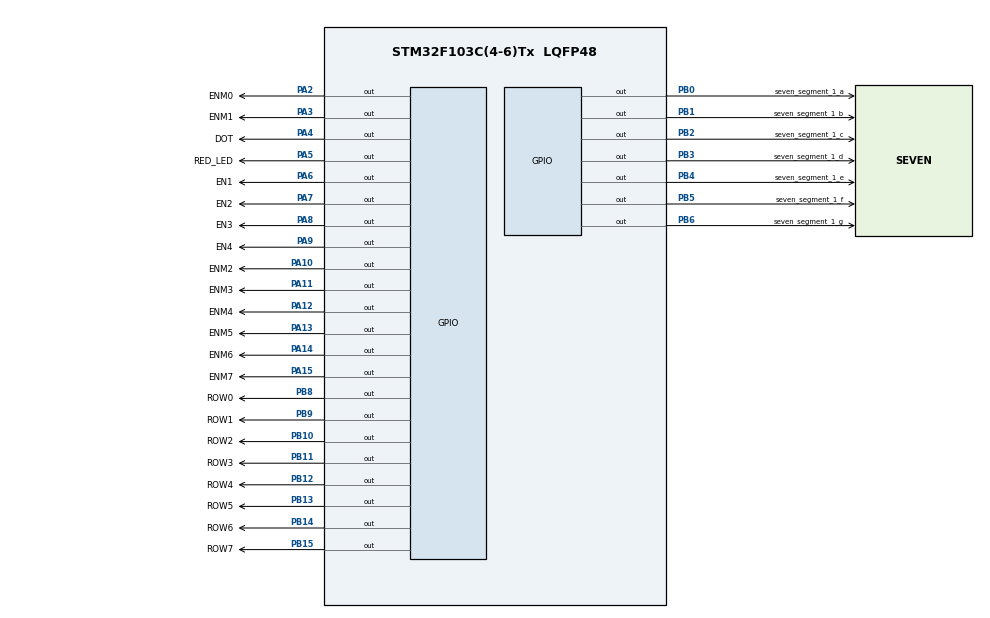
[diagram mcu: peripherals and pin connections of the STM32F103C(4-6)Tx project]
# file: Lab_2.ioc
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Mcu.Family=STM32F1
Mcu.Name=STM32F103C(4-6)Tx
Mcu.Package=LQFP48
NVIC.PriorityGroup=NVIC_PRIORITYGROUP_4
NVIC.TIM2_IRQn=true\:0\:0\:false\:false\:true\:true\:true
PA10.GPIO_Label=ENM2
PA10.Signal=GPIO_Output
PA11.GPIO_Label=ENM3
PA11.Signal=GPIO_Output
PA12.GPIO_Label=ENM4
PA12.Signal=GPIO_Output
PA13.GPIO_Label=ENM5
PA13.Signal=GPIO_Output
PA14.GPIO_Label=ENM6
PA14.Signal=GPIO_Output
PA15.GPIO_Label=ENM7
PA15.Signal=GPIO_Output
PA2.GPIO_Label=ENM0
PA2.Signal=GPIO_Output
PA3.GPIO_Label=ENM1
PA3.Signal=GPIO_Output
PA4.GPIO_Label=DOT
PA4.Signal=GPIO_Output
PA5.GPIO_Label=RED_LED
PA5.Signal=GPIO_Output
PA6.GPIO_Label=EN1
PA6.Signal=GPIO_Output
PA7.GPIO_Label=EN2
PA7.Signal=GPIO_Output
PA8.GPIO_Label=EN3
PA8.Signal=GPIO_Output
PA9.GPIO_Label=EN4
PA9.Signal=GPIO_Output
PB0.GPIO_Label=seven_segment_1_a
PB0.Signal=GPIO_Output
PB1.GPIO_Label=seven_segment_1_b
PB1.Signal=GPIO_Output
PB10.GPIO_Label=ROW2
PB10.Signal=GPIO_Output
PB11.GPIO_Label=ROW3
PB11.Signal=GPIO_Output
PB12.GPIO_Label=ROW4
PB12.Signal=GPIO_Output
PB13.GPIO_Label=ROW5
PB13.Signal=GPIO_Output
PB14.GPIO_Label=ROW6
PB14.Signal=GPIO_Output
PB15.GPIO_Label=ROW7
PB15.Signal=GPIO_Output
PB2.GPIO_Label=seven_segment_1_c
PB2.Signal=GPIO_Output
PB3.GPIO_Label=seven_segment_1_d
PB3.Signal=GPIO_Output
PB4.GPIO_Label=seven_segment_1_e
PB4.Signal=GPIO_Output
PB5.GPIO_Label=seven_segment_1_f
PB5.Signal=GPIO_Output
PB6.GPIO_Label=seven_segment_1_g
PB6.Signal=GPIO_Output
PB8.GPIO_Label=ROW0
PB8.Signal=GPIO_Output
PB9.GPIO_Label=ROW1
PB9.Signal=GPIO_Output
PD0-OSC_IN.Mode=HSE-External-Oscillator
PD0-OSC_IN.Signal=RCC_OSC_IN
PD1-OSC_OUT.Mode=HSE-External-Oscillator
PD1-OSC_OUT.Signal=RCC_OSC_OUT
ProjectManager.HeapSize=0x200
ProjectManager.StackSize=0x400
ProjectManager.TargetToolchain=STM32CubeIDE
RCC.APB1Freq_Value=8000000
RCC.APB2Freq_Value=8000000
RCC.SYSCLKSource=RCC_SYSCLKSOURCE_HSE
TIM2.Period=9
TIM2.Prescaler=7999
VP_SYS_VS_ND.Mode=No_Debug
VP_TIM2_VS_ClockSourceINT.Mode=Internal
board=custom

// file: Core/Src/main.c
/* USER CODE BEGIN Header */
/**
  ******************************************************************************
  * @file           : main.c
  * @brief          : Main program body
  ******************************************************************************
  * @attention
  *
  * <h2><center>&copy; Copyright (c) 2021 STMicroelectronics.
  * All rights reserved.</center></h2>
  *
  * This software component is licensed by ST under BSD 3-Clause license,
  * the "License"; You may not use this file except in compliance with the
  * License. You may obtain a copy of the License at:
  *                        opensource.org/licenses/BSD-3-Clause
  *
  ******************************************************************************
  */
/* USER CODE END Header */
#include "main.h"

TIM_HandleTypeDef htim2;

void SystemClock_Config(void);
static void MX_GPIO_Init(void);
static void MX_TIM2_Init(void);

/* USER CODE BEGIN 0 */
int timer0_counter = 0;
int timer0_flag = 0;
int timer1_counter = 0;
int timer1_flag = 0;
int timer2_counter = 0;
int timer2_flag = 0;
int TIMER_CYCLE = 10;
void setTimer0 ( int duration ){
	timer0_counter = duration / TIMER_CYCLE ;
	timer0_flag = 0;
}
void setTimer1 ( int duration ){
	timer1_counter = duration / TIMER_CYCLE ;
	timer1_flag = 0;
}
void setTimer2 ( int duration ){
	timer2_counter = duration / TIMER_CYCLE ;
	timer2_flag = 0;
}
void timer_run (){
	if( timer0_counter > 0){
	timer0_counter--;
	if( timer0_counter == 0) timer0_flag = 1;
	}

	if( timer1_counter > 0){
	timer1_counter--;
	if( timer1_counter == 0) timer1_flag = 1;
	}

	if( timer2_counter > 0){
	timer2_counter--;
	if( timer2_counter == 0) timer2_flag = 1;
	}

}
/* USER CODE END 0 */

int main(void)
{

  /* MCU Configuration--------------------------------------------------------*/

  /* Reset of all peripherals, Initializes the Flash interface and the Systick. */
  HAL_Init();

  /* Configure the system clock */
  SystemClock_Config();

  /* Initialize all configured peripherals */
  MX_GPIO_Init();
  MX_TIM2_Init();
  /* USER CODE BEGIN 2 */
  HAL_TIM_Base_Start_IT (& htim2 ) ;
  /* USER CODE END 2 */

  /* Infinite loop */
  /* USER CODE BEGIN WHILE */

	#define MAX_DISP 5
#define MAX_COL 7
  uint8_t hour = 15, minute = 8, second = 50;
  setTimer0 (TIMER0_TIME);
  setTimer1(TIMER1_TIME);
  setTimer2(TIMER2_TIME);
  int segment_idx = 0;
  int indx=0;
  int show = 0;
  setupMatrix();
  while (1)
  {

	  if (timer2_flag==1){
		  updateLEDMatrix(indx);
		  indx++;
		  if (indx > MAX_COL) {
			  show++;
			  indx = 0;
		  }
		  if (show == MAX_DISP){
			  updateAnimation();
			  show = 0;
		  }
		  setTimer2(TIMER2_TIME);
	  }

	  if (timer1_flag == 1){
		  runClock(segment_idx);
		  segment_idx++;
		  if (segment_idx>3) segment_idx = 0;
		  setTimer1(TIMER1_TIME);
	  }

	  if( timer0_flag == 1){
		  HAL_GPIO_TogglePin ( RED_LED_GPIO_Port , RED_LED_Pin );
		  HAL_GPIO_TogglePin(DOT_GPIO_Port, DOT_Pin);
		  second++;
		  if (second >= MAX_SECOND){
			  second=0;
			  minute++;
		  }
		  if (minute>=	MAX_MINUTE){
			  minute=0;
			  hour++;
		  }
		  if (hour >= MAX_HOUR){
			  hour = 0;
		  }
		  updateClockBuffer (minute, hour);
		  setTimer0 (TIMER0_TIME) ;
	  }
    /* USER CODE END WHILE */

  }
}

void SystemClock_Config(void)
{
  RCC_OscInitTypeDef RCC_OscInitStruct = {0};
  RCC_ClkInitTypeDef RCC_ClkInitStruct = {0};

  /** Initializes the RCC Oscillators according to the specified parameters
  * in the RCC_OscInitTypeDef structure.
  */
  RCC_OscInitStruct.OscillatorType = RCC_OSCILLATORTYPE_HSE;
  RCC_OscInitStruct.HSEState = RCC_HSE_ON;
  RCC_OscInitStruct.PLL.PLLState = RCC_PLL_NONE;
  if (HAL_RCC_OscConfig(&RCC_OscInitStruct) != HAL_OK)
  {
    Error_Handler();
  }
  /** Initializes the CPU, AHB and APB buses clocks
  */
  RCC_ClkInitStruct.ClockType = RCC_CLOCKTYPE_HCLK|RCC_CLOCKTYPE_SYSCLK
                              |RCC_CLOCKTYPE_PCLK1|RCC_CLOCKTYPE_PCLK2;
  RCC_ClkInitStruct.SYSCLKSource = RCC_SYSCLKSOURCE_HSE;
  RCC_ClkInitStruct.AHBCLKDivider = RCC_SYSCLK_DIV1;
  RCC_ClkInitStruct.APB1CLKDivider = RCC_HCLK_DIV1;
  RCC_ClkInitStruct.APB2CLKDivider = RCC_HCLK_DIV1;

  if (HAL_RCC_ClockConfig(&RCC_ClkInitStruct, FLASH_LATENCY_0) != HAL_OK)
  {
    Error_Handler();
  }
}

static void MX_TIM2_Init(void)
{

  TIM_ClockConfigTypeDef sClockSourceConfig = {0};
  TIM_MasterConfigTypeDef sMasterConfig = {0};

  htim2.Instance = TIM2;
  htim2.Init.Prescaler = 7999;
  htim2.Init.CounterMode = TIM_COUNTERMODE_UP;
  htim2.Init.Period = 9;
  htim2.Init.ClockDivision = TIM_CLOCKDIVISION_DIV1;
  htim2.Init.AutoReloadPreload = TIM_AUTORELOAD_PRELOAD_DISABLE;
  if (HAL_TIM_Base_Init(&htim2) != HAL_OK)
  {
    Error_Handler();
  }
  sClockSourceConfig.ClockSource = TIM_CLOCKSOURCE_INTERNAL;
  if (HAL_TIM_ConfigClockSource(&htim2, &sClockSourceConfig) != HAL_OK)
  {
    Error_Handler();
  }
  sMasterConfig.MasterOutputTrigger = TIM_TRGO_RESET;
  sMasterConfig.MasterSlaveMode = TIM_MASTERSLAVEMODE_DISABLE;
  if (HAL_TIMEx_MasterConfigSynchronization(&htim2, &sMasterConfig) != HAL_OK)
  {
    Error_Handler();
  }

}

static void MX_GPIO_Init(void)
{
  GPIO_InitTypeDef GPIO_InitStruct = {0};

  /* GPIO Ports Clock Enable */
  __HAL_RCC_GPIOD_CLK_ENABLE();
  __HAL_RCC_GPIOA_CLK_ENABLE();
  __HAL_RCC_GPIOB_CLK_ENABLE();

  /*Configure GPIO pin Output Level */
  HAL_GPIO_WritePin(GPIOA, ENM0_Pin|ENM1_Pin|DOT_Pin|RED_LED_Pin
                          |EN1_Pin|EN2_Pin|EN3_Pin|EN4_Pin
                          |ENM2_Pin|ENM3_Pin|ENM4_Pin|ENM5_Pin
                          |ENM6_Pin|ENM7_Pin, GPIO_PIN_RESET);

  /*Configure GPIO pin Output Level */
  HAL_GPIO_WritePin(GPIOB, seven_segment_1_a_Pin|seven_segment_1_b_Pin|seven_segment_1_c_Pin|ROW2_Pin
                          |ROW3_Pin|ROW4_Pin|ROW5_Pin|ROW6_Pin
                          |ROW7_Pin|seven_segment_1_d_Pin|seven_segment_1_e_Pin|seven_segment_1_f_Pin
                          |seven_segment_1_g_Pin|ROW0_Pin|ROW1_Pin, GPIO_PIN_RESET);

  /*Configure GPIO pins : ENM0_Pin ENM1_Pin DOT_Pin RED_LED_Pin
                           EN1_Pin EN2_Pin EN3_Pin EN4_Pin
                           ENM2_Pin ENM3_Pin ENM4_Pin ENM5_Pin
                           ENM6_Pin ENM7_Pin */
  GPIO_InitStruct.Pin = ENM0_Pin|ENM1_Pin|DOT_Pin|RED_LED_Pin
                          |EN1_Pin|EN2_Pin|EN3_Pin|EN4_Pin
                          |ENM2_Pin|ENM3_Pin|ENM4_Pin|ENM5_Pin
                          |ENM6_Pin|ENM7_Pin;
  GPIO_InitStruct.Mode = GPIO_MODE_OUTPUT_PP;
  GPIO_InitStruct.Pull = GPIO_NOPULL;
  GPIO_InitStruct.Speed = GPIO_SPEED_FREQ_LOW;
  HAL_GPIO_Init(GPIOA, &GPIO_InitStruct);

  /*Configure GPIO pins : seven_segment_1_a_Pin seven_segment_1_b_Pin seven_segment_1_c_Pin ROW2_Pin
                           ROW3_Pin ROW4_Pin ROW5_Pin ROW6_Pin
                           ROW7_Pin seven_segment_1_d_Pin seven_segment_1_e_Pin seven_segment_1_f_Pin
                           seven_segment_1_g_Pin ROW0_Pin ROW1_Pin */
  GPIO_InitStruct.Pin = seven_segment_1_a_Pin|seven_segment_1_b_Pin|seven_segment_1_c_Pin|ROW2_Pin
                          |ROW3_Pin|ROW4_Pin|ROW5_Pin|ROW6_Pin
                          |ROW7_Pin|seven_segment_1_d_Pin|seven_segment_1_e_Pin|seven_segment_1_f_Pin
                          |seven_segment_1_g_Pin|ROW0_Pin|ROW1_Pin;
  GPIO_InitStruct.Mode = GPIO_MODE_OUTPUT_PP;
  GPIO_InitStruct.Pull = GPIO_NOPULL;
  GPIO_InitStruct.Speed = GPIO_SPEED_FREQ_LOW;
  HAL_GPIO_Init(GPIOB, &GPIO_InitStruct);

}

void Error_Handler(void)
{
  __disable_irq();
  while (1)
  {
  }
}

/************************ (C) COPYRIGHT STMicroelectronics *****END OF FILE****/
